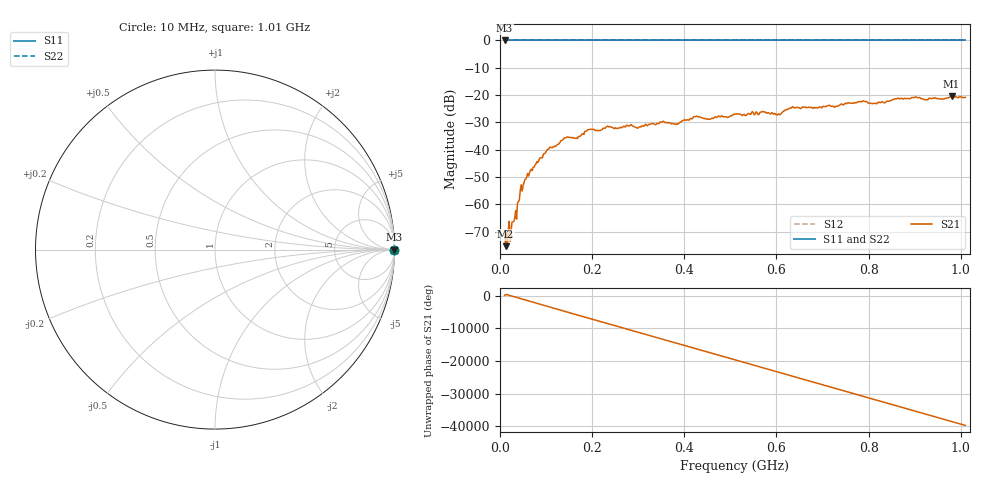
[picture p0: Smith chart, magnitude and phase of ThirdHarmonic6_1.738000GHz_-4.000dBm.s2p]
! 8/16/2025 8:56:36 PM
! C:\ANRITSUVNA\TEMP\TEMP.S2P
! CHANNEL.1
! TR.MEASUREMENT
! RAW.DATA
! RF.CORRECTION.OFF
! AVERAGING.OFF
! IF.BANDWIDTH: 5KHZ
! SWEEPTYPE:  FREQ.SWEEP(Linear)
! Reference Plane Port Info
! PORT:  PORT1  PORT2
! DISTANCE:  0  m  0  m
! TIME:  0  s  0  s
! PHASE.OFFSET:  0  deg.  0  deg.
! LOSS:  0  dB  0  dB
! REF.LOSS:  0  dB  0  dB
! REF.FREQ:  0  Hz  0  Hz
! Power Info
! POWER:  -20  dBm  -20  dBm
! EFF.POWER:  -20  dBm  -20  dBm
! SOURCE.ATTEN:  0  dB  0  dB
! TEST.ATTEN:  0  dB  0  dB
# GHZ S RI R 50.0
! FREQ.GHZ  S11RE  S11IM  S21RE  S21IM  S12RE  S12IM  S22RE  S22IM
!; PortSelection: Port_12
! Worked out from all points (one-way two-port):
!   501 points, 10 MHz to 1.01 GHz, reference 50 ohm
!   highest |S21| = -20.38 dB at 980 MHz (marker M1); lowest = -75.3 dB at 12 MHz (marker M2)
!   lowest |S11| = 0.0 dB at 10 MHz (marker M3)
!   |S11| at or under -10 dB: nowhere
!   |S22| runs from 0.0 to 0.0 dB; largest |S21 - S12| = 1.1
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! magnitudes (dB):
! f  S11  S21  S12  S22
! 10 MHz  0.0  -69.5  0.0  0.0
! 12 MHz  0.0  -75.3  0.0  0.0
! 26 MHz  0.0  -66.5  0.0  0.0
! 48 MHz  0.0  -55.2  0.0  0.0
! 64 MHz  0.0  -48.5  0.0  0.0
! 106 MHz  0.0  -39.7  0.0  0.0
! 142 MHz  0.0  -35.7  0.0  0.0
! 178 MHz  0.0  -34.3  0.0  0.0
! 194 MHz  0.0  -32.6  0.0  0.0
! 234 MHz  0.0  -31.4  0.0  0.0
! 298 MHz  0.0  -32.1  0.0  0.0
! 344 MHz  0.0  -30.5  0.0  0.0
! 382 MHz  0.0  -30.7  0.0  0.0
! 424 MHz  0.0  -28.0  0.0  0.0
! 452 MHz  0.0  -28.7  0.0  0.0
! 510 MHz  0.0  -27.0  0.0  0.0
! 604 MHz  0.0  -26.9  0.0  0.0
! 632 MHz  0.0  -24.8  0.0  0.0
! 678 MHz  0.0  -24.8  0.0  0.0
! 844 MHz  0.0  -22.3  0.0  0.0
! 980 MHz  0.0  -20.4  0.0  0.0
! 1.01 GHz  0.0  -20.8  0.0  0.0
